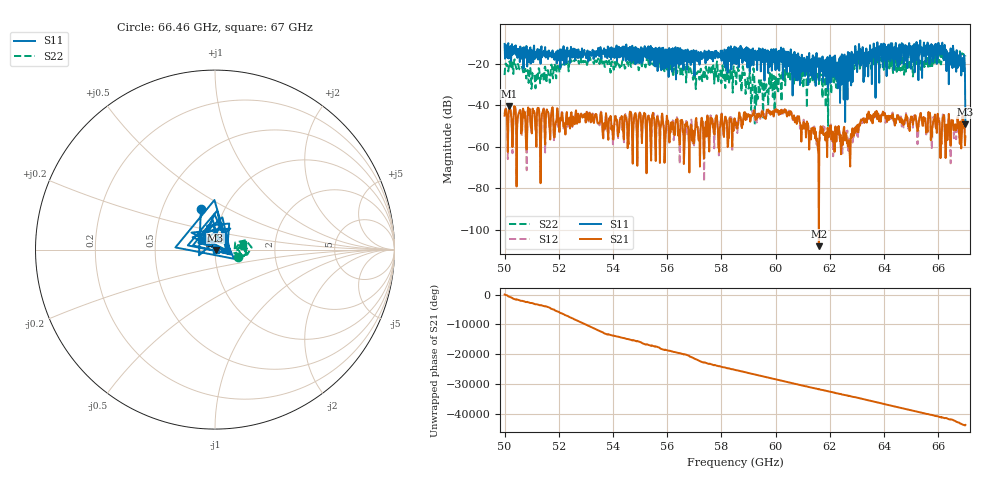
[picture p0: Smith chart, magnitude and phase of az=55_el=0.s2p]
!Created with skrf (http://scikit-rf.org).
# GHz S RI R 50.0
!freq ReS11 ImS11 ReS21 ImS21 ReS12 ImS12 ReS22 ImS22
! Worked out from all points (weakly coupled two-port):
!   1001 points, 50 GHz to 67 GHz, reference 50 ohm
!   highest |S21| = -40.31 dB at 50.17 GHz (marker M1); lowest = -108.1 dB at 61.59 GHz (marker M2)
!   lowest |S11| = -49.2 dB at 67 GHz (marker M3), VSWR 1.01, Z = 50.3 - j0.149 ohm
!   |S11| at or under -10 dB: 50.14 GHz to 63.75 GHz (13.61 GHz wide, 23.9 % of centre); 63.76 GHz to 64.25 GHz (490.8 MHz wide, 0.767 % of centre); 66.15 GHz to end of sweep (the widest 3 of 14)
!   |S22| runs from -49.9 to -13.8 dB; largest |S21 - S12| = 0.0026
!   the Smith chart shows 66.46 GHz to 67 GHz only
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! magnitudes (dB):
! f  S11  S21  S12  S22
! 50 GHz  -10.3  -45.0  -44.2  -25.3
! 50.17 GHz  -14.7  -40.3  -40.3  -19.1
! 50.36 GHz  -11.5  -40.4  -40.3  -17.9
! 51.07 GHz  -12.6  -43.6  -43.7  -24.7
! 51.26 GHz  -15.3  -41.3  -41.7  -22.0
! 52.84 GHz  -14.5  -44.3  -44.7  -19.2
! 55.68 GHz  -13.7  -47.4  -47.7  -22.2
! 56.88 GHz  -13.6  -49.4  -46.8  -24.0
! 58.5 GHz  -19.7  -48.7  -46.8  -24.4
! 59.32 GHz  -22.9  -44.0  -45.7  -33.9
! 60.34 GHz  -13.8  -41.8  -42.6  -25.0
! 61.34 GHz  -23.5  -51.6  -53.2  -25.7
! 61.59 GHz  -17.2  -108.1  -56.3  -29.7
! 61.71 GHz  -18.5  -50.5  -50.8  -31.8
! 62.16 GHz  -26.1  -54.0  -57.0  -28.9
! 62.27 GHz  -19.2  -50.7  -50.8  -24.2
! 62.72 GHz  -14.6  -59.8  -56.1  -20.7
! 63.17 GHz  -15.1  -47.3  -46.8  -18.4
! 64.18 GHz  -17.6  -47.1  -46.9  -18.3
! 66.08 GHz  -15.5  -65.5  -58.0  -15.6
! 66.9 GHz  -17.1  -44.9  -45.7  -15.1
! 67 GHz  -49.2  -55.1  -54.3  -15.8
